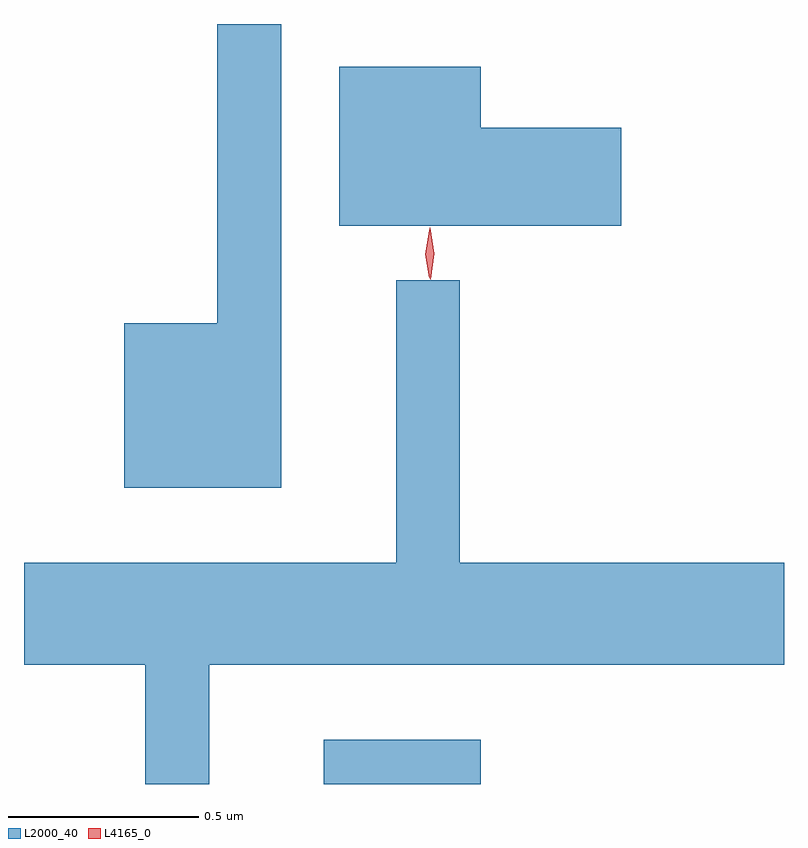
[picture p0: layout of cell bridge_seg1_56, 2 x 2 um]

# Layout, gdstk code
import gdstk
lib = gdstk.Library(unit=1e-6, precision=1e-09)
def R(c, l, rs):  # rectangles x0, y0, x1, y1
    for r in rs: c.add(gdstk.rectangle(r[:2], r[2:], *l))
def P(c, l, *ps):  # polygons
    for p in ps: c.add(gdstk.Polygon(p, *l))
L2000_40 = (2000, 40)
L4165_0 = (4165, 0)

bridge_seg1_56 = lib.new_cell('bridge_seg1_56')
R(bridge_seg1_56, L2000_40, [(1906.721,848.202,1907.134,848.319)])
P(bridge_seg1_56, L2000_40, [(1906.609,850.202),(1906.441,850.202),(1906.441,849.414),(1906.196,849.414),(1906.196,848.981),(1906.609,848.981)],
  [(1907.504,849.929),(1907.134,849.929),(1907.134,850.089),(1906.761,850.089),(1906.761,849.671),(1907.504,849.671)],
  [(1906.419,848.516),(1907.932,848.516),(1907.932,848.784),(1907.079,848.784),(1907.079,849.528),(1906.911,849.528),(1906.911,848.784),(1905.932,848.784),(1905.932,848.516),(1906.251,848.516),(1906.251,848.202),(1906.419,848.202)])
P(bridge_seg1_56, L4165_0, [(1906.998,849.533),(1906.998,849.533),(1906.988,849.596),(1906.998,849.659),(1906.998,849.66),(1906.999,849.659),(1907.008,849.596),(1906.999,849.533)],
  [(1907.001,849.53),(1907.001,849.53),(1906.991,849.598),(1907,849.666),(1907.001,849.666),(1907.001,849.666),(1907.011,849.598),(1907.002,849.53)])

lib.write_gds('bridge_seg1_56.gds')
